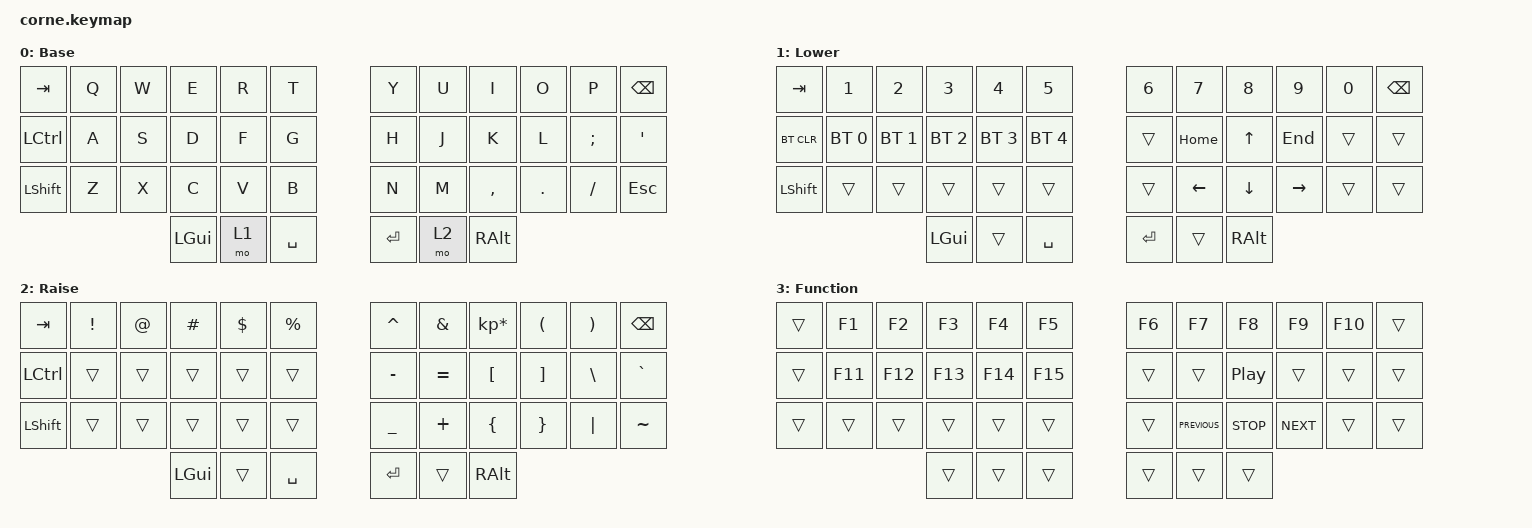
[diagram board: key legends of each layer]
/*
 * Copyright (c) 2020 The ZMK Contributors
 *
 * SPDX-License-Identifier: MIT
 */

#include <behaviors.dtsi>
#include <dt-bindings/zmk/bt.h>
#include <dt-bindings/zmk/keys.h>

/ {
    keymap {
        compatible = "zmk,keymap";

        default_layer {
            display-name = "Base";
            bindings = <
&kp TAB    &kp Q  &kp W  &kp E     &kp R  &kp T        &kp Y    &kp U  &kp I      &kp O    &kp P     &kp BSPC
&kp LCTRL  &kp A  &kp S  &kp D     &kp F  &kp G        &kp H    &kp J  &kp K      &kp L    &kp SEMI  &kp SQT
&kp LSHFT  &kp Z  &kp X  &kp C     &kp V  &kp B        &kp N    &kp M  &kp COMMA  &kp DOT  &kp FSLH  &kp ESC
                         &kp LGUI  &mo 1  &kp SPACE    &kp RET  &mo 2  &kp RALT
            >;
        };

        lower_layer {
            display-name = "Lower";
            bindings = <
&kp TAB     &kp N1        &kp N2        &kp N3        &kp N4        &kp N5          &kp N6   &kp N7    &kp N8          &kp N9     &kp N0  &kp BSPC
&bt BT_CLR  &bt BT_SEL 0  &bt BT_SEL 1  &bt BT_SEL 2  &bt BT_SEL 3  &bt BT_SEL 4    &trans   &kp HOME  &kp UP          &kp END    &trans  &trans
&kp LSHFT   &trans        &trans        &trans        &trans        &trans          &trans   &kp LEFT  &kp DOWN_ARROW  &kp RIGHT  &trans  &trans
                                        &kp LGUI      &trans        &kp SPACE       &kp RET  &trans    &kp RALT
            >;
        };

        raise_layer {
            display-name = "Raise";
            bindings = <
&kp TAB    &kp EXCL  &kp AT  &kp HASH  &kp DLLR  &kp PRCNT    &kp CARET  &kp AMPS   &kp KP_MULTIPLY  &kp LPAR  &kp RPAR  &kp BSPC
&kp LCTRL  &trans    &trans  &trans    &trans    &trans       &kp MINUS  &kp EQUAL  &kp LBKT         &kp RBKT  &kp BSLH  &kp GRAVE
&kp LSHFT  &trans    &trans  &trans    &trans    &trans       &kp UNDER  &kp PLUS   &kp LBRC         &kp RBRC  &kp PIPE  &kp TILDE
                             &kp LGUI  &trans    &kp SPACE    &kp RET    &trans     &kp RALT
            >;
        };

        function_layer {
            display-name = "Function";
            bindings = <
&trans  &kp F1   &kp F2   &kp F3   &kp F4   &kp F5     &kp F6  &kp F7          &kp F8            &kp F9      &kp F10  &trans
&trans  &kp F11  &kp F12  &kp F13  &kp F14  &kp F15    &trans  &trans          &kp C_PLAY_PAUSE  &trans      &trans   &trans
&trans  &trans   &trans   &trans   &trans   &trans     &trans  &kp C_PREVIOUS  &kp C_STOP        &kp C_NEXT  &trans   &trans
                          &trans   &trans   &trans     &trans  &trans          &trans
            >;
        };
    };

    conditional_layers {
        compatible = "zmk,conditional-layers";

        conditional_function_layer {
            if-layers = <1 2>;
            then-layer = <3>;
        };
    };
};
